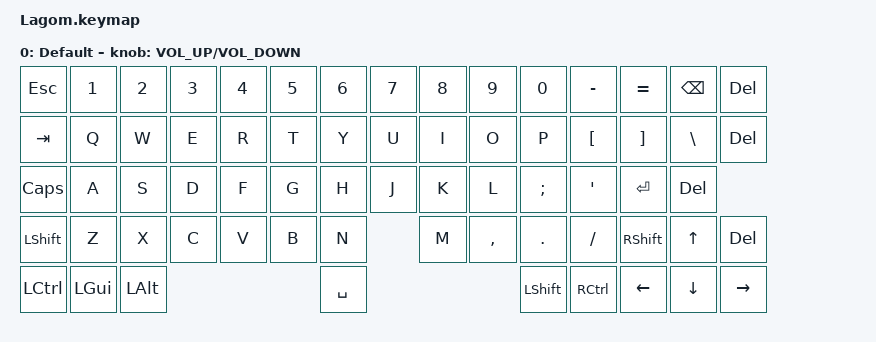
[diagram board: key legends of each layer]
/*
 * Copyright (c) 2020 The ZMK Contributors
 *
 * SPDX-License-Identifier: MIT
 */

#include <behaviors.dtsi>
#include <dt-bindings/zmk/keys.h>
#include <dt-bindings/zmk/bt.h>

/ {
    sensors {
        compatible = "zmk,keymap-sensors";
        sensors = <&encoder_1>;
    };

    keymap {
        compatible = "zmk,keymap";

        default_layer {
            label = "Default";

            sensor-bindings = <&inc_dec_kp C_VOLUME_UP C_VOLUME_DOWN>;

            bindings = <
    &kp ESC     &kp N1    &kp N2    &kp N3    &kp N4    &kp N5    &kp N6    &kp N7    &kp N8    &kp N9    &kp N0    &kp MINUS &kp EQUAL             &kp BSPC  &kp DEL
    &kp TAB     &kp Q     &kp W     &kp E     &kp R     &kp T     &kp Y     &kp U     &kp I     &kp O     &kp P     &kp LBKT  &kp RBKT   &kp BSLH   &kp DEL
    &kp CLCK    &kp A     &kp S     &kp D     &kp F     &kp G     &kp H     &kp J     &kp K     &kp L     &kp SEMI  &kp SQT              &kp RET    &kp DEL
    &kp LSHFT             &kp Z     &kp X     &kp C     &kp V     &kp B     &kp N     &kp M     &kp COMMA &kp DOT   &kp FSLH  &kp RSHFT  &kp UP     &kp DEL
    &kp LCTRL &kp LGUI  &kp LALT                                  &kp SPACE                               &kp LSHFT &kp RCTRL &kp LEFT   &kp DOWN   &kp RIGHT
            >;
        };
    };
};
